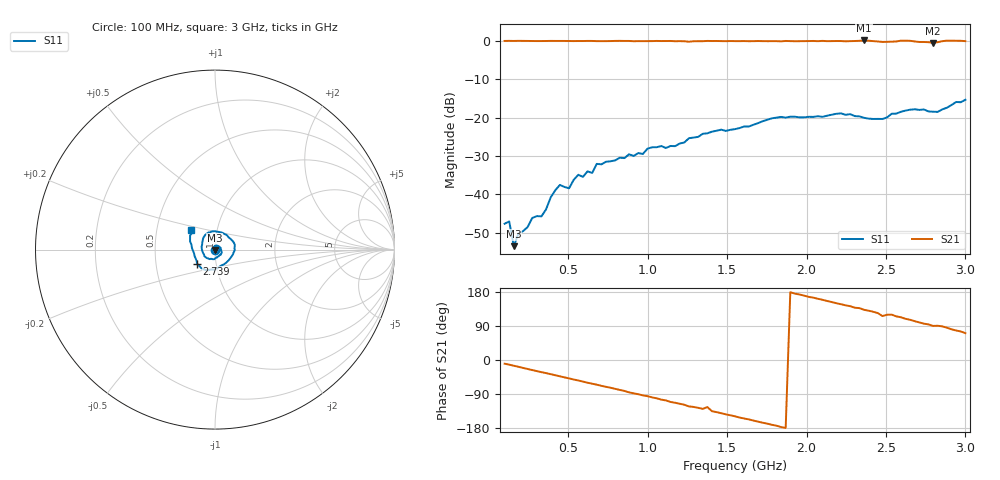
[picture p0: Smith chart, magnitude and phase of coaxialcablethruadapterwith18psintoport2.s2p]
# HZ S RI R 50
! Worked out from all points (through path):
!   101 points, 100 MHz to 3 GHz, reference 50 ohm
!   highest |S21| = 0.11 dB at 2.362 GHz (marker M1); lowest = -0.5 dB at 2.797 GHz (marker M2)
!   group delay of S21, straight-line fit = 266 ps
!   lowest |S11| = -53.5 dB at 158 MHz (marker M3), VSWR 1.00, Z = 50 - j0.209 ohm
!   |S11| at or under -10 dB: start of sweep to end of sweep
!   S12 and S22 are empty: the file has one direction only
!   S11 on the Smith chart (normalised r, x): 100 MHz: 1.00, -0.01; 2.739 GHz: 0.81, -0.13; 3 GHz: 0.75, +0.17
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1e8  0.000456 -0.00411  0.9841 -0.1678  0 0  0 0
1.29e8  -0.00415 -0.00153  0.978 -0.2124  0 0  0 0
1.58e8  -0.000253 -0.00209  0.9632 -0.2611  0 0  0 0
2.74e8  -0.00468 -0.00147  0.8915 -0.4455  0 0  0 0
3.32e8  -0.00512 -0.000642  0.8431 -0.529  0 0  0 0
4.48e8  -0.0104 0.0082  0.7298 -0.6812  0 0  0 0
5.06e8  -0.00638 0.0101  0.6592 -0.7477  0 0  0 0
5.93e8  -0.000676 0.0168  0.5438 -0.8343  0 0  0 0
6.8e8  0.00743 0.0238  0.4182 -0.9009  0 0  0 0
1.086e9  0.0315 -0.0287  -0.2499 -0.9637  0 0  0 0
1.347e9  -0.0307 -0.0532  -0.6245 -0.7697  0 0  0 0
1.376e9  -0.0384 -0.0492  -0.5599 -0.827  0 0  0 0
1.405e9  -0.0457 -0.0469  -0.7063 -0.7029  0 0  0 0
1.55e9  -0.0702 -0.00789  -0.8475 -0.5183  0 0  0 0
1.782e9  -0.0548 0.081  -0.9797 -0.1558  0 0  0 0
2.043e9  0.0549 0.0862  -0.9624 0.2646  0 0  0 0
2.362e9  0.0903 -0.0413  -0.6836 0.7475  0 0  0 0
2.478e9  0.0326 -0.0901  -0.4235 0.8717  0 0  0 0
2.536e9  -0.00451 -0.112  -0.4843 0.8488  0 0  0 0
2.739e9  -0.1 -0.0791  -0.0992 0.9622  0 0  0 0
2.797e9  -0.1135 -0.0364  0.000834 0.9426  0 0  0 0
3e9  -0.1326 0.1075  0.3267 0.937  0 0  0 0
